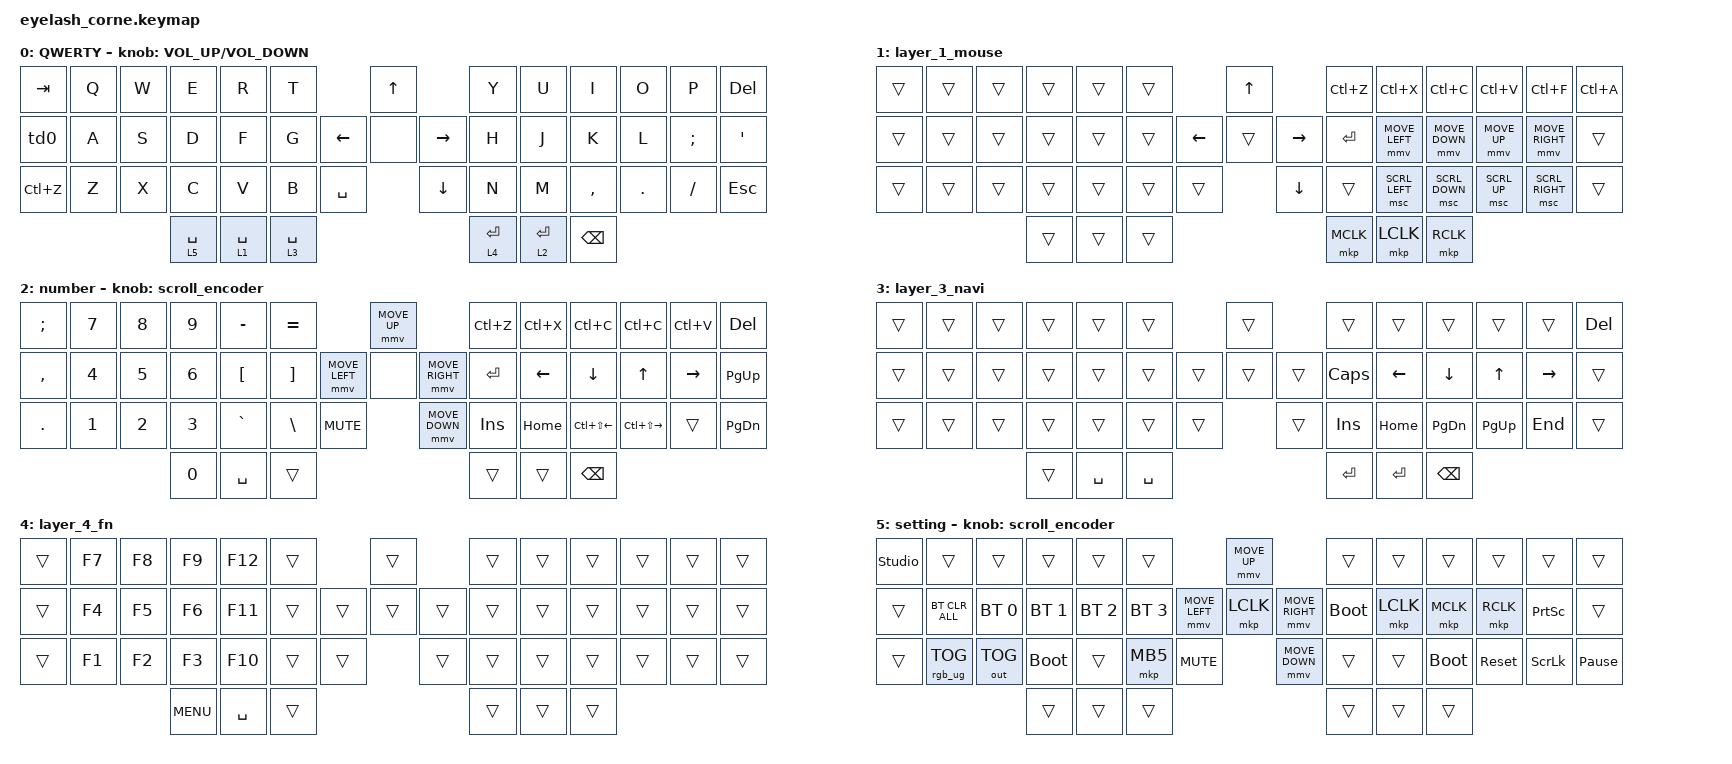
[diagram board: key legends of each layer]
#define ZMK_POINTING_DEFAULT_MOVE_VAL 1200  // 600
#define ZMK_POINTING_DEFAULT_SCRL_VAL 25   // 10

#include <input/processors.dtsi>
#include <zephyr/dt-bindings/input/input-event-codes.h>
#include <behaviors.dtsi>
#include <dt-bindings/zmk/bt.h>
#include <dt-bindings/zmk/keys.h>
#include <dt-bindings/zmk/outputs.h>
#include <dt-bindings/zmk/pointing.h>
#include <dt-bindings/zmk/rgb.h>

&mmv_input_listener { input-processors = <&zip_xy_scaler 2 1>; };

&msc_input_listener { input-processors = <&zip_scroll_scaler 2 1>; };

&msc {
    acceleration-exponent = <1>;      // 0
    time-to-max-speed-ms = <100>;       // 300
    delay-ms = <0>;                   // 0
};

&mmv {
    time-to-max-speed-ms = <500>;
    acceleration-exponent = <1>;
    trigger-period-ms = <16>;
};

/ {
    behaviors {
        td0: td0 {
            compatible = "zmk,behavior-tap-dance";
            display-name = "Shift/Caps Lock Tap Dance";
            #binding-cells = <0>;
            bindings = <&kp RIGHT_ALT>, <&kp CAPS>;
        };
    };

    rgb_encoder: rgb_encoder {
        compatible = "zmk,behavior-sensor-rotate";
        #sensor-binding-cells = <0>;
        bindings = <&rgb_ug RGB_BRI>, <&rgb_ug RGB_BRD>;
    };

    scroll_encoder: scroll_encoder {
        compatible = "zmk,behavior-sensor-rotate";
        #sensor-binding-cells = <0>;
        bindings = <&msc SCRL_DOWN>, <&msc SCRL_UP>;

        tap-ms = <100>;
    };

    combos {
        compatible = "zmk,combos";

        lshft {
            bindings = <&kp LSHFT>;
            key-positions = <14 15>;
        };

        lcrtl {
            bindings = <&kp LCTRL>;
            key-positions = <15 16>;
        };

        lalt {
            bindings = <&kp LEFT_ALT>;
            key-positions = <16 17>;
        };

        lctrl_alt {
            bindings = <&kp LC(LEFT_ALT)>;
            key-positions = <15 16 17>;
        };

        lshft_ctrl {
            bindings = <&kp LS(LCTRL)>;
            key-positions = <14 15 16>;
        };

        lshft_alt {
            bindings = <&kp LS(LEFT_ALT)>;
            key-positions = <14 17 16>;
        };

        lshft_win {
            bindings = <&kp LS(LEFT_WIN)>;
            key-positions = <17 14 18>;
        };

        lctrl_win {
            bindings = <&kp LC(LEFT_WIN)>;
            key-positions = <17 18 15>;
        };

        lalt_win {
            bindings = <&kp LA(LEFT_WIN)>;
            key-positions = <16 17 18>;
        };

        rctrl {
            bindings = <&kp LCTRL>;
            key-positions = <25 24>;
        };

        ralt {
            bindings = <&kp LALT>;
            key-positions = <24 23>;
        };

        rwin {
            bindings = <&kp LWIN>;
            key-positions = <23 22>;
        };

        rctrl_alt {
            bindings = <&kp LC(LEFT_ALT)>;
            key-positions = <25 24 23>;
        };

        rshft_ctrl {
            bindings = <&kp LS(LCTRL)>;
            key-positions = <26 25 24>;
        };

        rshft_alt {
            bindings = <&kp LS(LEFT_ALT)>;
            key-positions = <24 26 23>;
        };

        rsfht_win {
            bindings = <&kp LS(LEFT_WIN)>;
            key-positions = <23 26 22>;
        };

        rctrl_win {
            bindings = <&kp LC(LEFT_WIN)>;
            key-positions = <25 22 23>;
        };

        ralt_win {
            bindings = <&kp LA(LEFT_WIN)>;
            key-positions = <23 24 22>;
        };

        rshft {
            bindings = <&kp RSHFT>;
            key-positions = <26 25>;
        };

        ra5 {
            bindings = <&to 5>;
            key-positions = <45 46 47>;
        };

        left_win {
            bindings = <&kp LEFT_WIN>;
            key-positions = <17 18>;
        };
    };

    keymap {
        compatible = "zmk,keymap";

        default_layer {
            display-name = "QWERTY";
            bindings = <
&kp TAB    &kp Q  &kp W  &kp E        &kp R        &kp T                               &kp UP               &kp Y        &kp U        &kp I          &kp O    &kp P     &kp DEL
&td0       &kp A  &kp S  &kp D        &kp F        &kp G                     &kp LEFT  &none     &kp RIGHT  &kp H        &kp J        &kp K          &kp L    &kp SEMI  &kp SQT
&kp LC(Z)  &kp Z  &kp X  &kp C        &kp V        &kp B        &kp SPACE              &kp DOWN             &kp N        &kp M        &kp COMMA      &kp DOT  &kp FSLH  &kp ESC
                         &lt 5 SPACE  &lt 1 SPACE  &lt 3 SPACE                                              &lt 4 ENTER  &lt 2 ENTER  &kp BACKSPACE
            >;

            sensor-bindings = <&inc_dec_kp C_VOLUME_UP C_VOLUME_DOWN>;
        };

        layer_1_mouse {
            bindings = <
&trans  &trans  &trans  &trans  &trans  &trans                      &kp UP               &kp LC(Z)  &kp LC(X)       &kp LC(C)       &kp LC(V)     &kp LC(F)        &kp LC(A)
&trans  &trans  &trans  &trans  &trans  &trans            &kp LEFT  &trans    &kp RIGHT  &kp ENTER  &mmv MOVE_LEFT  &mmv MOVE_DOWN  &mmv MOVE_UP  &mmv MOVE_RIGHT  &trans
&trans  &trans  &trans  &trans  &trans  &trans  &trans              &kp DOWN             &trans     &msc SCRL_LEFT  &msc SCRL_DOWN  &msc SCRL_UP  &msc SCRL_RIGHT  &trans
                        &trans  &trans  &trans                                           &mkp MCLK  &mkp LCLK       &mkp RCLK
            >;
        };

        layer_2 {
            display-name = "number";
            bindings = <
&kp SEMI   &kp N7  &kp N8  &kp N9  &kp MINUS  &kp EQUAL                                &mmv MOVE_UP                     &kp LC(Z)   &kp LC(X)  &kp LC(C)         &kp LC(C)          &kp LC(V)  &kp DELETE
&kp COMMA  &kp N4  &kp N5  &kp N6  &kp LBKT   &kp RBKT                 &mmv MOVE_LEFT  &none           &mmv MOVE_RIGHT  &kp ENTER   &kp LEFT   &kp DOWN          &kp UP             &kp RIGHT  &kp PG_UP
&kp DOT    &kp N1  &kp N2  &kp N3  &kp GRAVE  &kp BSLH   &kp C_MUTE                    &mmv MOVE_DOWN                   &kp INSERT  &kp HOME   &kp LC(LS(LEFT))  &kp LC(LS(RIGHT))  &trans     &kp PG_DN
                           &kp N0  &kp SPACE  &trans                                                                    &trans      &trans     &kp BACKSPACE
            >;

            sensor-bindings = <&scroll_encoder>;
        };

        layer_3_navi {
            bindings = <
&trans  &trans  &trans  &trans  &trans     &trans                       &trans          &trans        &trans          &trans         &trans       &trans     &kp DEL
&trans  &trans  &trans  &trans  &trans     &trans               &trans  &trans  &trans  &kp CAPSLOCK  &kp LEFT_ARROW  &kp DOWN       &kp UP       &kp RIGHT  &trans
&trans  &trans  &trans  &trans  &trans     &trans     &trans            &trans          &kp INSERT    &kp HOME        &kp PAGE_DOWN  &kp PAGE_UP  &kp END    &trans
                        &trans  &kp SPACE  &kp SPACE                                    &kp ENTER     &kp ENTER       &kp BACKSPACE
            >;
        };

        layer_4_fn {
            bindings = <
&trans  &kp F7  &kp F8  &kp F9      &kp F12    &trans                    &trans          &trans  &trans  &trans  &trans  &trans  &trans
&trans  &kp F4  &kp F5  &kp F6      &kp F11    &trans            &trans  &trans  &trans  &trans  &trans  &trans  &trans  &trans  &trans
&trans  &kp F1  &kp F2  &kp F3      &kp F10    &trans  &trans            &trans          &trans  &trans  &trans  &trans  &trans  &trans
                        &kp C_MENU  &kp SPACE  &trans                                    &trans  &trans  &trans
            >;
        };

        layer_5 {
            display-name = "setting";
            bindings = <
&studio_unlock  &trans           &trans        &trans        &trans        &trans                                      &mmv MOVE_UP                     &trans       &trans     &trans       &trans      &trans           &trans
&trans          &bt BT_CLR_ALL   &bt BT_SEL 0  &bt BT_SEL 1  &bt BT_SEL 2  &bt BT_SEL 3                &mmv MOVE_LEFT  &mkp LCLK       &mmv MOVE_RIGHT  &bootloader  &mkp LCLK  &mkp MCLK    &mkp RCLK   &kp PRINTSCREEN  &trans
&trans          &rgb_ug RGB_TOG  &out OUT_TOG  &bootloader   &trans        &mkp MB5      &kp C_MUTE                    &mmv MOVE_DOWN                   &trans       &trans     &bootloader  &sys_reset  &kp SCROLLLOCK   &kp PAUSE_BREAK
                                               &trans        &trans        &trans                                                                       &trans       &trans     &trans
            >;

            sensor-bindings = <&scroll_encoder>;
        };
    };
};
